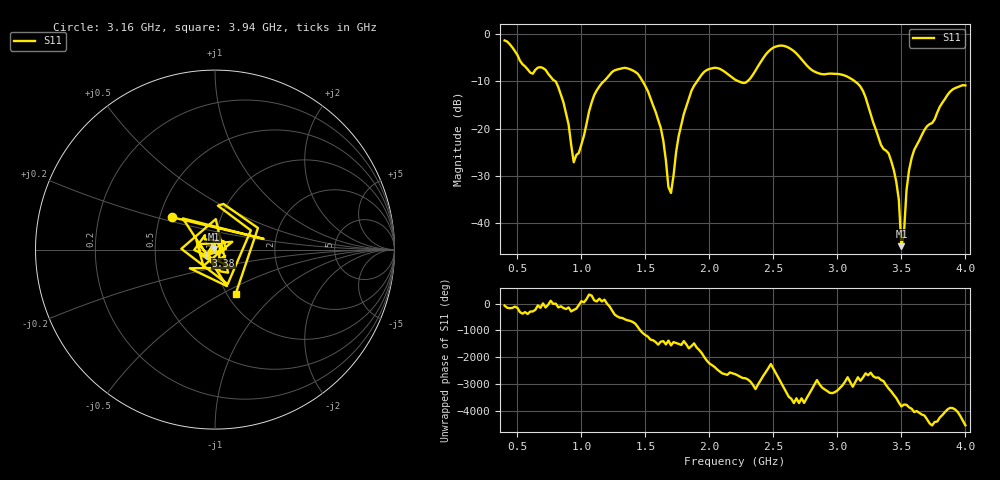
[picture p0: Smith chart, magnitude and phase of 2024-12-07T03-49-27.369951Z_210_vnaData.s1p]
!Created with skrf (http://scikit-rf.org).
# Hz S RI R 50.0
!freq ReS11 ImS11
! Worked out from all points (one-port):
!   181 points, 400 MHz to 4 GHz, reference 50 ohm
!   lowest |S11| = -44.9 dB at 3.5 GHz (marker M1), VSWR 1.01, Z = 49.6 + j0.37 ohm
!   |S11| at or under -10 dB: 796.8 MHz to 1.175 GHz (378.5 MHz wide, 38.4 % of centre); 1.478 GHz to 1.904 GHz (425.6 MHz wide, 25.2 % of centre); 3.136 GHz to end of sweep (the widest 3 of 4)
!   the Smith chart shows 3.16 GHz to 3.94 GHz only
!   S11 on the Smith chart (normalised r, x): 3.16 GHz: 0.58, +0.23; 3.38 GHz: 0.91, -0.06; 3.94 GHz: 1.09, -0.59
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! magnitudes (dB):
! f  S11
! 400 MHz  -1.4
! 600 MHz  -8.2
! 720 MHz  -7.6
! 860 MHz  -14.5
! 940 MHz  -27.1
! 1.1 GHz  -12.9
! 1.3 GHz  -7.4
! 1.52 GHz  -12.1
! 1.62 GHz  -19.8
! 1.7 GHz  -33.6
! 1.76 GHz  -21.6
! 1.86 GHz  -12.0
! 1.96 GHz  -8.0
! 2.2 GHz  -9.6
! 2.3 GHz  -9.9
! 2.5 GHz  -2.9
! 2.66 GHz  -3.6
! 3.1 GHz  -9.4
! 3.16 GHz  -10.5
! 3.38 GHz  -24.7
! 3.46 GHz  -31.3
! 3.48 GHz  -35.0
! 3.5 GHz  -44.9
! 3.52 GHz  -42.1
! 3.56 GHz  -28.8
! 3.68 GHz  -20.3
! 3.94 GHz  -11.2
! 4 GHz  -10.9
